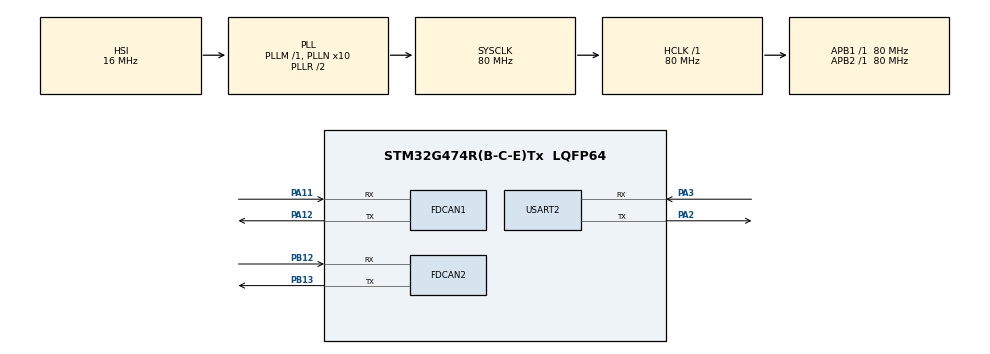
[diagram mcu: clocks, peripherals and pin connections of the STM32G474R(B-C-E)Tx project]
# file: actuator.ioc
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FDCAN1.CalculateBaudRateNominal=500000
FDCAN1.CalculateTimeBitNominal=2000
FDCAN1.CalculateTimeQuantumNominal=125.0
FDCAN1.NominalPrescaler=10
FDCAN1.NominalTimeSeg1=13
FDCAN2.CalculateBaudRateNominal=500000
FDCAN2.CalculateTimeBitNominal=2000
FDCAN2.CalculateTimeQuantumNominal=125.0
FDCAN2.NominalPrescaler=10
FDCAN2.NominalTimeSeg1=13
Mcu.Family=STM32G4
Mcu.Name=STM32G474R(B-C-E)Tx
Mcu.Package=LQFP64
NVIC.FDCAN1_IT0_IRQn=true\:0\:0\:false\:false\:true\:true\:true\:true
NVIC.FDCAN2_IT0_IRQn=true\:0\:0\:false\:false\:true\:true\:true\:true
NVIC.PriorityGroup=NVIC_PRIORITYGROUP_4
PA11.Mode=FDCAN_Activate
PA11.Signal=FDCAN1_RX
PA12.Mode=FDCAN_Activate
PA12.Signal=FDCAN1_TX
PA2.Mode=Asynchronous
PA2.Signal=USART2_TX
PA3.Mode=Asynchronous
PA3.Signal=USART2_RX
PB12.Mode=FDCAN_Activate
PB12.Signal=FDCAN2_RX
PB13.Mode=FDCAN_Activate
PB13.Signal=FDCAN2_TX
ProjectManager.HeapSize=0x200
ProjectManager.StackSize=0x400
ProjectManager.TargetToolchain=STM32CubeIDE
RCC.ADC12Freq_Value=80000000
RCC.ADC345Freq_Value=80000000
RCC.AHBFreq_Value=80000000
RCC.APB1Freq_Value=80000000
RCC.APB1TimFreq_Value=80000000
RCC.APB2Freq_Value=80000000
RCC.APB2TimFreq_Value=80000000
RCC.CortexFreq_Value=80000000
RCC.EXTERNAL_CLOCK_VALUE=12288000
RCC.HCLKFreq_Value=80000000
RCC.HSE_VALUE=8000000
RCC.HSI48_VALUE=48000000
RCC.HSI_VALUE=16000000
RCC.LSE_VALUE=32768
RCC.PLLN=10
RCC.SYSCLKFreq_VALUE=80000000
RCC.SYSCLKSource=RCC_SYSCLKSOURCE_PLLCLK
RCC.USBFreq_Value=80000000
RCC.VCOOutputFreq_Value=160000000
USART2.VirtualMode-Asynchronous=VM_ASYNC
VP_SYS_VS_DBSignals.Mode=DisableDeadBatterySignals
board=custom

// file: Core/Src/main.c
/* USER CODE BEGIN Header */
/**
  ******************************************************************************
  * @file           : main.c  [SLAVE]
  * @brief          : Autonomiczny węzeł CANopen + CiA 402 FSA
  *
  * Architektura:
  *   - Slave działa autonomicznie i zawsze utrzymuje heartbeat
  *   - Master to zewnętrzne urządzenie które się podłącza i steruje
  *   - Utrata mastera → Quick Stop + RESET_COMM (restartuje HB consumer)
  *   - Powrót mastera → automatyczne wznowienie bez NMT RESET
  *   - ECSS oscylacja wyeliminowana przez Ttoggle=30 + Bdefault dynamiczny
  ******************************************************************************
  */
/* USER CODE END Header */

#include "main.h"
#include "fdcan.h"
#include "usart.h"
#include "gpio.h"

/* USER CODE BEGIN Includes */
#include "canopen.h"
#include "cia402.h"
/* USER CODE END Includes */

/* USER CODE BEGIN PD */

//#define TPDO_FLOOD_TEST_ENABLE   1
//#define TPDO_FLOOD_START_MS      20000u
//#define TPDO_FLOOD_EXTRA         9u   /* ile dodatkowych TPDO na SYNC (łącznie 10x) */

/* USER CODE END PD */

void SystemClock_Config(void);

/* USER CODE BEGIN 0 */

static void MAIN_LOGF(const char *fmt, ...)
{
    char buf[128];
    va_list ap;
    va_start(ap, fmt);
    vsnprintf(buf, sizeof(buf), fmt, ap);
    va_end(ap);
    HAL_UART_Transmit(&huart2, (uint8_t *)buf,
                      (uint16_t)strlen(buf), 100);
    HAL_UART_Transmit(&huart2, (uint8_t *)"\r\n", 2, 100);
}

static uint32_t len_to_fdcan_dlc(uint8_t len)
{
  switch (len) {
    case 0:  return FDCAN_DLC_BYTES_0;
    case 1:  return FDCAN_DLC_BYTES_1;
    case 2:  return FDCAN_DLC_BYTES_2;
    case 3:  return FDCAN_DLC_BYTES_3;
    case 4:  return FDCAN_DLC_BYTES_4;
    case 5:  return FDCAN_DLC_BYTES_5;
    case 6:  return FDCAN_DLC_BYTES_6;
    case 7:  return FDCAN_DLC_BYTES_7;
    default: return FDCAN_DLC_BYTES_8;
  }
}

static uint8_t fdcan_dlc_to_len(uint32_t dlc)
{
  switch (dlc) {
    case FDCAN_DLC_BYTES_0: return 0;
    case FDCAN_DLC_BYTES_1: return 1;
    case FDCAN_DLC_BYTES_2: return 2;
    case FDCAN_DLC_BYTES_3: return 3;
    case FDCAN_DLC_BYTES_4: return 4;
    case FDCAN_DLC_BYTES_5: return 5;
    case FDCAN_DLC_BYTES_6: return 6;
    case FDCAN_DLC_BYTES_7: return 7;
    case FDCAN_DLC_BYTES_8: return 8;
    default:                return 8;
  }
}

void HAL_FDCAN_ErrorStatusCallback(FDCAN_HandleTypeDef *hfdcan,uint32_t ErrorStatusITs)
{
    if (ErrorStatusITs & FDCAN_IT_BUS_OFF)
    {
        HAL_UART_Transmit(&huart2,
            (uint8_t *)"[SLAVE] BUS-OFF detected on FDCAN",
            33, 100);

        /* Próba odzyskania — zatrzymaj i restart kontrolera */
        uint8_t bus_id = (hfdcan == &hfdcan2)
                         ? CANOPEN_BUS_B_ID
                         : CANOPEN_BUS_A_ID;

        HAL_FDCAN_Stop(hfdcan);
        HAL_FDCAN_Start(hfdcan);

        HAL_UART_Transmit(&huart2,
            (uint8_t *)"[SLAVE] FDCAN restarted after bus-off\r\n",
            39, 100);
        (void)bus_id;
    }
}

/* ── CAN send ────────────────────────────────────────────────────────────── */

static bool my_can_send(uint8_t bus_id, const struct can_msg *msg)
{
    if (!msg) return false;

    FDCAN_HandleTypeDef  *h  = (bus_id == CANOPEN_BUS_B_ID) ? &hfdcan2 : &hfdcan1;
    FDCAN_TxHeaderTypeDef th = {0};
    uint8_t data[8]          = {0};
    uint8_t len              = (msg->len > 8u) ? 8u : (uint8_t)msg->len;

    if ((msg->id & 0x1FFFFFFFu) > 0x7FFu) {
        th.IdType     = FDCAN_EXTENDED_ID;
        th.Identifier = (uint32_t)(msg->id & 0x1FFFFFFFu);
    } else {
        th.IdType     = FDCAN_STANDARD_ID;
        th.Identifier = (uint32_t)(msg->id & 0x7FFu);
    }

    th.TxFrameType         = FDCAN_DATA_FRAME;
    th.DataLength          = len_to_fdcan_dlc(len);
    th.ErrorStateIndicator = FDCAN_ESI_ACTIVE;
    th.BitRateSwitch       = FDCAN_BRS_OFF;
    th.FDFormat            = FDCAN_CLASSIC_CAN;
    th.TxEventFifoControl  = FDCAN_NO_TX_EVENTS;

    memcpy(data, msg->data, len);
    return HAL_FDCAN_AddMessageToTxFifoQ(h, &th, data) == HAL_OK;
}

/* ── CAN recv ────────────────────────────────────────────────────────────── */

static bool my_can_recv(uint8_t bus_id, struct can_msg *msg)
{
    if (!msg) return false;

    FDCAN_HandleTypeDef *h = (bus_id == CANOPEN_BUS_B_ID) ? &hfdcan2 : &hfdcan1;

    if (HAL_FDCAN_GetRxFifoFillLevel(h, FDCAN_RX_FIFO0) == 0u) return false;

    FDCAN_RxHeaderTypeDef rh;
    uint8_t data[8];

    if (HAL_FDCAN_GetRxMessage(h, FDCAN_RX_FIFO0, &rh, data) != HAL_OK) return false;

    memset(msg, 0, sizeof(*msg));
    msg->id  = (rh.IdType == FDCAN_EXTENDED_ID)
               ? (uint_least32_t)(rh.Identifier & 0x1FFFFFFFu)
               : (uint_least32_t)(rh.Identifier & 0x7FFu);
    msg->len = fdcan_dlc_to_len(rh.DataLength);
    if (msg->len > 8u) msg->len = 8u;
    memcpy(msg->data, data, msg->len);

    return true;
}
/* ── czas ────────────────────────────────────────────────────────────────── */

static void my_get_time(struct timespec *tp)
{
    if (!tp) return;
    uint32_t ms  = HAL_GetTick();
    tp->tv_sec   = (time_t)(ms / 1000u);
    tp->tv_nsec  = (long)((ms % 1000u) * 1000000L);
}

static void app_on_sync   (uint8_t cnt) { cia402_on_sync(cnt);    }
static void app_on_running(void)        { cia402_on_running();     }
static void app_on_stopped(void)        { cia402_on_stopped();     }
static void app_on_tpdo   (void)        { cia402_on_tpdo();        }

/* USER CODE END 0 */

/* ── main ────────────────────────────────────────────────────────────────── */

int main(void)
{
  HAL_Init();
  SystemClock_Config();
  MX_GPIO_Init();
  MX_FDCAN1_Init();
  MX_FDCAN2_Init();
  MX_USART2_UART_Init();

  /* USER CODE BEGIN 2 */
  assert(HAL_FDCAN_Start(&hfdcan1) == HAL_OK);
  assert(HAL_FDCAN_Start(&hfdcan2) == HAL_OK);

  HAL_FDCAN_ActivateNotification(&hfdcan1,FDCAN_IT_BUS_OFF, 0);
  HAL_FDCAN_ActivateNotification(&hfdcan2,FDCAN_IT_BUS_OFF, 0);
  canopen_config cfg =
  {
      .send = my_can_send,
      .recv = my_can_recv,
      .time = my_get_time,
      .on_sync    = app_on_sync,
      .on_running = app_on_running,
      .on_stopped = app_on_stopped,
      .on_tpdo    = app_on_tpdo,
  };

  assert(canopen_init(cfg) == CANOPEN_OK);
  cia402_init(canopen.dev);

  /* USER CODE END 2 */

  while (true) {
    /* USER CODE BEGIN 3 */
      canopen_process();

    HAL_Delay(1);

      /* USER CODE END 3 */
  }

  return 0;
}

/* ── System Clock ────────────────────────────────────────────────────────── */

void SystemClock_Config(void)
{
  RCC_OscInitTypeDef RCC_OscInitStruct = {0};
  RCC_ClkInitTypeDef RCC_ClkInitStruct = {0};

  HAL_PWREx_ControlVoltageScaling(PWR_REGULATOR_VOLTAGE_SCALE1);
  RCC_OscInitStruct.OscillatorType      = RCC_OSCILLATORTYPE_HSI;
  RCC_OscInitStruct.HSIState            = RCC_HSI_ON;
  RCC_OscInitStruct.HSICalibrationValue = RCC_HSICALIBRATION_DEFAULT;
  RCC_OscInitStruct.PLL.PLLState        = RCC_PLL_ON;
  RCC_OscInitStruct.PLL.PLLSource       = RCC_PLLSOURCE_HSI;
  RCC_OscInitStruct.PLL.PLLM            = RCC_PLLM_DIV1;
  RCC_OscInitStruct.PLL.PLLN            = 10;
  RCC_OscInitStruct.PLL.PLLP            = RCC_PLLP_DIV2;
  RCC_OscInitStruct.PLL.PLLQ            = RCC_PLLQ_DIV2;
  RCC_OscInitStruct.PLL.PLLR            = RCC_PLLR_DIV2;
  if (HAL_RCC_OscConfig(&RCC_OscInitStruct) != HAL_OK) Error_Handler();

  RCC_ClkInitStruct.ClockType      = RCC_CLOCKTYPE_HCLK | RCC_CLOCKTYPE_SYSCLK
                                   | RCC_CLOCKTYPE_PCLK1 | RCC_CLOCKTYPE_PCLK2;
  RCC_ClkInitStruct.SYSCLKSource   = RCC_SYSCLKSOURCE_PLLCLK;
  RCC_ClkInitStruct.AHBCLKDivider  = RCC_SYSCLK_DIV1;
  RCC_ClkInitStruct.APB1CLKDivider = RCC_HCLK_DIV1;
  RCC_ClkInitStruct.APB2CLKDivider = RCC_HCLK_DIV1;
  if (HAL_RCC_ClockConfig(&RCC_ClkInitStruct, FLASH_LATENCY_2) != HAL_OK) Error_Handler();
}

void Error_Handler(void) { __disable_irq(); while (1) {} }
